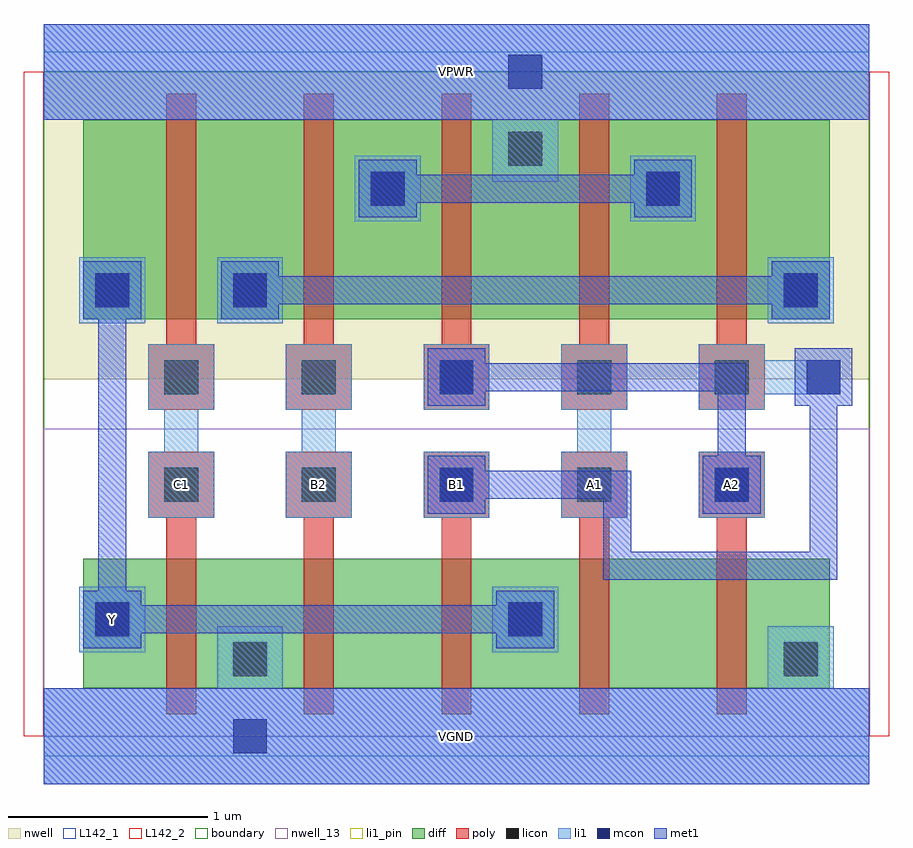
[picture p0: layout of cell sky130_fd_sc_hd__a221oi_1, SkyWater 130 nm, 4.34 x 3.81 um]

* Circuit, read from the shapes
.subckt sky130_fd_sc_hd__a221oi_1 A1 A2 B1 B2 C1 VGND VPWR Y
XM1 VGND C1 Y VSUBS sky130_fd_pr__nfet_01v8 w=0.65 l=0.15
XM2 n1 B2 VGND VSUBS sky130_fd_pr__nfet_01v8 w=0.65 l=0.15
XM3 Y B1 n1 VSUBS sky130_fd_pr__nfet_01v8 w=0.65 l=0.15
XM4 n2 A1 Y VSUBS sky130_fd_pr__nfet_01v8 w=0.65 l=0.15
XM5 VGND A2 n2 VSUBS sky130_fd_pr__nfet_01v8 w=0.65 l=0.15
XM6 n3 C1 Y n4 sky130_fd_pr__pfet_01v8 w=1 l=0.15
XM7 n5 B2 n3 n4 sky130_fd_pr__pfet_01v8 w=1 l=0.15
XM8 VPWR A2 n5 n4 sky130_fd_pr__pfet_01v8 w=1 l=0.15
XM9 n5 A1 VPWR n4 sky130_fd_pr__pfet_01v8 w=1 l=0.15
XM10 n3 B1 n5 n4 sky130_fd_pr__pfet_01v8 w=1 l=0.15
.ends

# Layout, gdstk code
import gdstk
lib = gdstk.Library(unit=1e-6, precision=1e-09)
def R(c, l, rs):  # rectangles x0, y0, x1, y1
    for r in rs: c.add(gdstk.rectangle(r[:2], r[2:], *l))
def A(c, l, x, y, w, h, nx, ny, dx, dy):  # array of equal rectangles
    R(c, l, [(x+i*dx, y+j*dy, x+i*dx+w, y+j*dy+h) for i in range(nx) for j in range(ny)])
def P(c, l, *ps):  # polygons
    for p in ps: c.add(gdstk.Polygon(p, *l))
nwell_13 = (64, 13)
nwell = (64, 20)
diff = (65, 20)
poly = (66, 20)
licon = (66, 44)
li1_pin = (67, 16)
li1 = (67, 20)
mcon = (67, 44)
met1 = (68, 20)
L142_1 = (142, 1)
L142_2 = (142, 2)
boundary = (235, 4)

sky130_fd_sc_hd__a221oi_ = lib.new_cell('sky130_fd_sc_hd__a221oi_1')
R(sky130_fd_sc_hd__a221oi_, nwell_13, [(0,0,4.14,1.54)])
R(sky130_fd_sc_hd__a221oi_, nwell, [(0,1.79,4.14,3.33)])
A(sky130_fd_sc_hd__a221oi_, diff, 0.615, 0.24, 0.69, 0.65, 4, 1, 0.69, 0)
A(sky130_fd_sc_hd__a221oi_, diff, 0.615, 2.09, 0.69, 1, 4, 1, 0.69, 0)
R(sky130_fd_sc_hd__a221oi_, diff, [(0.2,0.24,3.94,0.89), (0.2,0.24,0.615,0.89), (3.375,0.24,3.94,0.89), (0.2,2.09,3.94,3.09), (0.2,2.09,0.615,3.09), (3.375,2.09,3.94,3.09)])
P(sky130_fd_sc_hd__a221oi_, poly, [(1.305,0.11),(1.305,1.095),(1.215,1.095),(1.215,1.425),(1.545,1.425),(1.545,1.095),(1.455,1.095),(1.455,0.11)],
  [(1.215,1.635),(1.215,1.965),(1.305,1.965),(1.305,3.22),(1.455,3.22),(1.455,1.965),(1.545,1.965),(1.545,1.635)],
  [(3.375,0.11),(3.375,1.095),(3.285,1.095),(3.285,1.425),(3.615,1.425),(3.615,1.095),(3.525,1.095),(3.525,0.11)],
  [(1.905,1.635),(1.905,1.965),(1.995,1.965),(1.995,3.22),(2.145,3.22),(2.145,1.965),(2.235,1.965),(2.235,1.635)],
  [(2.685,0.11),(2.685,1.095),(2.595,1.095),(2.595,1.425),(2.925,1.425),(2.925,1.095),(2.835,1.095),(2.835,0.11)],
  [(2.595,1.635),(2.595,1.965),(2.685,1.965),(2.685,3.22),(2.835,3.22),(2.835,1.965),(2.925,1.965),(2.925,1.635)],
  [(0.615,0.11),(0.615,1.095),(0.525,1.095),(0.525,1.425),(0.855,1.425),(0.855,1.095),(0.765,1.095),(0.765,0.11)],
  [(0.525,1.635),(0.525,1.965),(0.615,1.965),(0.615,3.22),(0.765,3.22),(0.765,1.965),(0.855,1.965),(0.855,1.635)],
  [(1.995,0.11),(1.995,1.095),(1.905,1.095),(1.905,1.425),(2.235,1.425),(2.235,1.095),(2.145,1.095),(2.145,0.11)],
  [(3.285,1.635),(3.285,1.965),(3.375,1.965),(3.375,3.22),(3.525,3.22),(3.525,1.965),(3.615,1.965),(3.615,1.635)])
A(sky130_fd_sc_hd__a221oi_, licon, 0.605, 1.175, 0.17, 0.17, 5, 2, 0.69, 0.54)
R(sky130_fd_sc_hd__a221oi_, licon, [(0.95,0.3,1.12,0.47), (3.71,0.3,3.88,0.47), (0.26,0.5,0.43,0.67), (2.33,0.5,2.5,0.67), (0.26,2.15,0.43,2.32), (0.95,2.15,1.12,2.32), (3.71,2.15,3.88,2.32), (1.64,2.66,1.81,2.83), (3.02,2.66,3.19,2.83), (2.33,2.86,2.5,3.03)])
R(sky130_fd_sc_hd__a221oi_, li1_pin, [(0,-0.24,4.14,0.24), (0.18,0.42,0.51,0.75), (1.905,1.095,2.235,1.425), (3.285,1.095,3.615,1.425), (0,3.09,4.14,3.57)])
P(sky130_fd_sc_hd__a221oi_, li1_pin, [(2.595,1.095),(2.595,1.425),(2.675,1.425),(2.675,1.635),(2.595,1.635),(2.595,1.965),(2.925,1.965),(2.925,1.635),(2.845,1.635),(2.845,1.425),(2.925,1.425),(2.925,1.095)],
  [(1.215,1.095),(1.215,1.425),(1.295,1.425),(1.295,1.635),(1.215,1.635),(1.215,1.965),(1.545,1.965),(1.545,1.635),(1.465,1.635),(1.465,1.425),(1.545,1.425),(1.545,1.095)],
  [(0.525,1.095),(0.525,1.425),(0.605,1.425),(0.605,1.635),(0.525,1.635),(0.525,1.965),(0.855,1.965),(0.855,1.635),(0.775,1.635),(0.775,1.425),(0.855,1.425),(0.855,1.095)])
R(sky130_fd_sc_hd__a221oi_, li1, [(0.18,0.42,0.51,0.75), (2.25,0.42,2.58,0.75), (1.905,1.095,2.235,1.425), (3.285,1.095,3.615,1.425), (1.905,1.635,2.235,1.965), (0.18,2.07,0.51,2.4), (0.87,2.07,1.2,2.4), (3.63,2.07,3.96,2.4), (1.56,2.58,1.89,2.91), (2.94,2.58,3.27,2.91)])
P(sky130_fd_sc_hd__a221oi_, li1, [(1.215,1.095),(1.215,1.425),(1.295,1.425),(1.295,1.635),(1.215,1.635),(1.215,1.965),(1.545,1.965),(1.545,1.635),(1.465,1.635),(1.465,1.425),(1.545,1.425),(1.545,1.095)],
  [(2.25,2.78),(2.25,3.09),(0,3.09),(0,3.57),(4.14,3.57),(4.14,3.09),(2.58,3.09),(2.58,2.78)],
  [(2.595,1.095),(2.595,1.425),(2.675,1.425),(2.675,1.635),(2.595,1.635),(2.595,1.965),(2.925,1.965),(2.925,1.635),(2.845,1.635),(2.845,1.425),(2.925,1.425),(2.925,1.095)],
  [(0,-0.24),(0,0.24),(0.87,0.24),(0.87,0.55),(1.2,0.55),(1.2,0.24),(3.63,0.24),(3.63,0.55),(3.96,0.55),(3.96,0.24),(4.14,0.24),(4.14,-0.24)],
  [(0.525,1.095),(0.525,1.425),(0.605,1.425),(0.605,1.635),(0.525,1.635),(0.525,1.965),(0.855,1.965),(0.855,1.635),(0.775,1.635),(0.775,1.425),(0.855,1.425),(0.855,1.095)],
  [(3.285,1.635),(3.285,1.965),(3.615,1.965),(3.615,1.885),(3.995,1.885),(3.995,1.715),(3.615,1.715),(3.615,1.635)])
R(sky130_fd_sc_hd__a221oi_, mcon, [(0.95,-0.085,1.12,0.085), (0.26,0.5,0.43,0.67), (2.33,0.5,2.5,0.67), (1.985,1.175,2.155,1.345), (3.365,1.175,3.535,1.345), (1.985,1.715,2.155,1.885), (3.825,1.715,3.995,1.885), (0.26,2.15,0.43,2.32), (0.95,2.15,1.12,2.32), (3.71,2.15,3.88,2.32), (1.64,2.66,1.81,2.83), (3.02,2.66,3.19,2.83), (2.33,3.245,2.5,3.415)])
R(sky130_fd_sc_hd__a221oi_, met1, [(0,-0.24,4.14,0.24), (0,3.09,4.14,3.57)])
P(sky130_fd_sc_hd__a221oi_, met1, [(0.2,0.44),(0.2,0.73),(0.275,0.73),(0.275,2.09),(0.2,2.09),(0.2,2.38),(0.49,2.38),(0.49,2.09),(0.415,2.09),(0.415,0.73),(0.49,0.73),(0.49,0.655),(2.27,0.655),(2.27,0.73),(2.56,0.73),(2.56,0.44),(2.27,0.44),(2.27,0.515),(0.49,0.515),(0.49,0.44)],
  [(3.305,1.115),(3.305,1.405),(3.38,1.405),(3.38,1.73),(2.215,1.73),(2.215,1.655),(1.925,1.655),(1.925,1.945),(2.215,1.945),(2.215,1.87),(3.52,1.87),(3.52,1.405),(3.595,1.405),(3.595,1.115)],
  [(0.89,2.09),(0.89,2.38),(1.18,2.38),(1.18,2.305),(3.65,2.305),(3.65,2.38),(3.94,2.38),(3.94,2.09),(3.65,2.09),(3.65,2.165),(1.18,2.165),(1.18,2.09)],
  [(1.58,2.6),(1.58,2.89),(1.87,2.89),(1.87,2.815),(2.96,2.815),(2.96,2.89),(3.25,2.89),(3.25,2.6),(2.96,2.6),(2.96,2.675),(1.87,2.675),(1.87,2.6)],
  [(2.805,0.785),(2.805,1.19),(2.215,1.19),(2.215,1.115),(1.925,1.115),(1.925,1.405),(2.215,1.405),(2.215,1.33),(2.945,1.33),(2.945,0.925),(3.84,0.925),(3.84,1.655),(3.765,1.655),(3.765,1.945),(4.055,1.945),(4.055,1.655),(3.98,1.655),(3.98,0.785)])
R(sky130_fd_sc_hd__a221oi_, L142_1, [(0,-0.1,4.14,0), (0,3.33,4.14,3.43)])
R(sky130_fd_sc_hd__a221oi_, L142_2, [(-0.1,0,0,3.33), (4.14,0,4.24,3.33)])
R(sky130_fd_sc_hd__a221oi_, boundary, [(0,0,4.14,3.33)])
sky130_fd_sc_hd__a221oi_.add(gdstk.Label('Y', (0.345,0.585), layer=67, texttype=5))
sky130_fd_sc_hd__a221oi_.add(gdstk.Label('A2', (3.45,1.26), layer=67, texttype=5))
sky130_fd_sc_hd__a221oi_.add(gdstk.Label('A1', (2.76,1.26), layer=67, texttype=5))
sky130_fd_sc_hd__a221oi_.add(gdstk.Label('B1', (2.07,1.26), layer=67, texttype=5))
sky130_fd_sc_hd__a221oi_.add(gdstk.Label('B2', (1.38,1.26), layer=67, texttype=5))
sky130_fd_sc_hd__a221oi_.add(gdstk.Label('C1', (0.69,1.26), layer=67, texttype=5))
sky130_fd_sc_hd__a221oi_.add(gdstk.Label('VGND', (2.07,0), layer=67, texttype=5))
sky130_fd_sc_hd__a221oi_.add(gdstk.Label('VPWR', (2.07,3.33), layer=67, texttype=5))
sky130_fd_sc_hd__a221oi_.add(gdstk.Label('VGND', (2.07,0), layer=68, texttype=5))
sky130_fd_sc_hd__a221oi_.add(gdstk.Label('VPWR', (2.07,3.33), layer=68, texttype=5))

lib.write_gds('sky130_fd_sc_hd__a221oi_1.gds')
